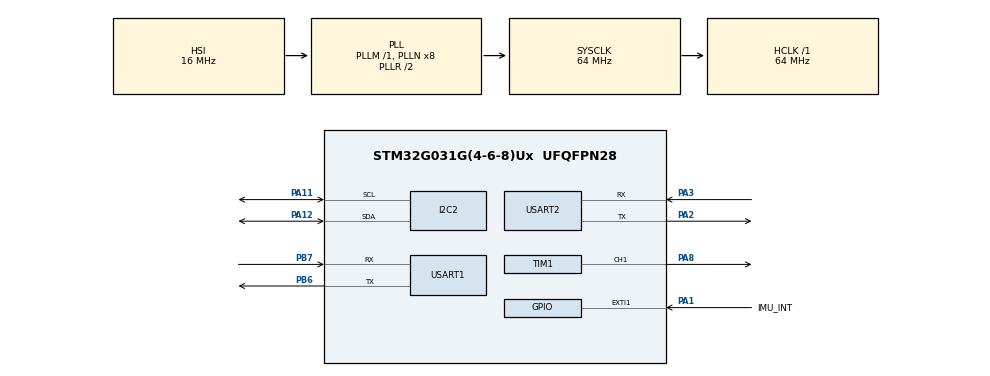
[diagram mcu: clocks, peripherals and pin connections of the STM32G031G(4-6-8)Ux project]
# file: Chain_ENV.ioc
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Dma.Request0=USART1_RX
Dma.Request1=USART1_TX
Dma.Request2=USART2_RX
Dma.Request3=USART2_TX
Dma.Request4=TIM1_CH1
Dma.TIM1_CH1.4.Direction=DMA_MEMORY_TO_PERIPH
Dma.TIM1_CH1.4.EventEnable=DISABLE
Dma.TIM1_CH1.4.Instance=DMA1_Channel5
Dma.TIM1_CH1.4.MemDataAlignment=DMA_MDATAALIGN_BYTE
Dma.TIM1_CH1.4.MemInc=DMA_MINC_ENABLE
Dma.TIM1_CH1.4.Mode=DMA_NORMAL
Dma.TIM1_CH1.4.PeriphDataAlignment=DMA_PDATAALIGN_HALFWORD
Dma.TIM1_CH1.4.PeriphInc=DMA_PINC_DISABLE
Dma.TIM1_CH1.4.Polarity=HAL_DMAMUX_REQ_GEN_RISING
Dma.TIM1_CH1.4.Priority=DMA_PRIORITY_LOW
Dma.TIM1_CH1.4.RequestNumber=1
Dma.TIM1_CH1.4.SignalID=NONE
Dma.TIM1_CH1.4.SyncEnable=DISABLE
Dma.TIM1_CH1.4.SyncPolarity=HAL_DMAMUX_SYNC_NO_EVENT
Dma.TIM1_CH1.4.SyncRequestNumber=1
Dma.TIM1_CH1.4.SyncSignalID=NONE
Dma.USART1_RX.0.Direction=DMA_PERIPH_TO_MEMORY
Dma.USART1_RX.0.EventEnable=DISABLE
Dma.USART1_RX.0.Instance=DMA1_Channel1
Dma.USART1_RX.0.MemDataAlignment=DMA_MDATAALIGN_BYTE
Dma.USART1_RX.0.MemInc=DMA_MINC_ENABLE
Dma.USART1_RX.0.Mode=DMA_NORMAL
Dma.USART1_RX.0.PeriphDataAlignment=DMA_PDATAALIGN_BYTE
Dma.USART1_RX.0.PeriphInc=DMA_PINC_DISABLE
Dma.USART1_RX.0.Polarity=HAL_DMAMUX_REQ_GEN_RISING
Dma.USART1_RX.0.Priority=DMA_PRIORITY_LOW
Dma.USART1_RX.0.RequestNumber=1
Dma.USART1_RX.0.SignalID=NONE
Dma.USART1_RX.0.SyncEnable=DISABLE
Dma.USART1_RX.0.SyncPolarity=HAL_DMAMUX_SYNC_NO_EVENT
Dma.USART1_RX.0.SyncRequestNumber=1
Dma.USART1_RX.0.SyncSignalID=NONE
Dma.USART1_TX.1.Direction=DMA_MEMORY_TO_PERIPH
Dma.USART1_TX.1.EventEnable=DISABLE
Dma.USART1_TX.1.Instance=DMA1_Channel2
Dma.USART1_TX.1.MemDataAlignment=DMA_MDATAALIGN_BYTE
Dma.USART1_TX.1.MemInc=DMA_MINC_ENABLE
Dma.USART1_TX.1.Mode=DMA_NORMAL
Dma.USART1_TX.1.PeriphDataAlignment=DMA_PDATAALIGN_BYTE
Dma.USART1_TX.1.PeriphInc=DMA_PINC_DISABLE
Dma.USART1_TX.1.Polarity=HAL_DMAMUX_REQ_GEN_RISING
Dma.USART1_TX.1.Priority=DMA_PRIORITY_LOW
Dma.USART1_TX.1.RequestNumber=1
Dma.USART1_TX.1.SignalID=NONE
Dma.USART1_TX.1.SyncEnable=DISABLE
Dma.USART1_TX.1.SyncPolarity=HAL_DMAMUX_SYNC_NO_EVENT
Dma.USART1_TX.1.SyncRequestNumber=1
Dma.USART1_TX.1.SyncSignalID=NONE
Dma.USART2_RX.2.Direction=DMA_PERIPH_TO_MEMORY
Dma.USART2_RX.2.EventEnable=DISABLE
Dma.USART2_RX.2.Instance=DMA1_Channel3
Dma.USART2_RX.2.MemDataAlignment=DMA_MDATAALIGN_BYTE
Dma.USART2_RX.2.MemInc=DMA_MINC_ENABLE
Dma.USART2_RX.2.Mode=DMA_NORMAL
Dma.USART2_RX.2.PeriphDataAlignment=DMA_PDATAALIGN_BYTE
Dma.USART2_RX.2.PeriphInc=DMA_PINC_DISABLE
Dma.USART2_RX.2.Polarity=HAL_DMAMUX_REQ_GEN_RISING
Dma.USART2_RX.2.Priority=DMA_PRIORITY_LOW
Dma.USART2_RX.2.RequestNumber=1
Dma.USART2_RX.2.SignalID=NONE
Dma.USART2_RX.2.SyncEnable=DISABLE
Dma.USART2_RX.2.SyncPolarity=HAL_DMAMUX_SYNC_NO_EVENT
Dma.USART2_RX.2.SyncRequestNumber=1
Dma.USART2_RX.2.SyncSignalID=NONE
Dma.USART2_TX.3.Direction=DMA_MEMORY_TO_PERIPH
Dma.USART2_TX.3.EventEnable=DISABLE
Dma.USART2_TX.3.Instance=DMA1_Channel4
Dma.USART2_TX.3.MemDataAlignment=DMA_MDATAALIGN_BYTE
Dma.USART2_TX.3.MemInc=DMA_MINC_ENABLE
Dma.USART2_TX.3.Mode=DMA_NORMAL
Dma.USART2_TX.3.PeriphDataAlignment=DMA_PDATAALIGN_BYTE
Dma.USART2_TX.3.PeriphInc=DMA_PINC_DISABLE
Dma.USART2_TX.3.Polarity=HAL_DMAMUX_REQ_GEN_RISING
Dma.USART2_TX.3.Priority=DMA_PRIORITY_LOW
Dma.USART2_TX.3.RequestNumber=1
Dma.USART2_TX.3.SignalID=NONE
Dma.USART2_TX.3.SyncEnable=DISABLE
Dma.USART2_TX.3.SyncPolarity=HAL_DMAMUX_SYNC_NO_EVENT
Dma.USART2_TX.3.SyncRequestNumber=1
Dma.USART2_TX.3.SyncSignalID=NONE
I2C2.Timing=0x10707DBC
IWDG.Prescaler=IWDG_PRESCALER_16
Mcu.Family=STM32G0
Mcu.Name=STM32G031G(4-6-8)Ux
Mcu.Package=UFQFPN28
NVIC.DMA1_Ch4_5_DMAMUX1_OVR_IRQn=true\:1\:0\:true\:false\:true\:false\:true\:true
NVIC.DMA1_Channel1_IRQn=true\:1\:0\:true\:false\:true\:false\:true\:true
NVIC.DMA1_Channel2_3_IRQn=true\:1\:0\:true\:false\:true\:false\:true\:true
NVIC.EXTI0_1_IRQn=true\:0\:0\:true\:false\:true\:true\:true\:true
NVIC.FLASH_IRQn=true\:1\:0\:true\:false\:true\:true\:true\:true
NVIC.TIM14_IRQn=true\:1\:0\:true\:false\:true\:true\:true\:true
NVIC.TIM16_IRQn=true\:1\:0\:true\:false\:true\:true\:true\:true
NVIC.TIM17_IRQn=true\:1\:0\:true\:false\:true\:true\:true\:true
NVIC.USART1_IRQn=true\:0\:0\:false\:false\:true\:false\:true\:true
NVIC.USART2_IRQn=true\:0\:0\:false\:false\:true\:false\:true\:true
PA1.GPIO_Label=IMU_INT
PA1.GPIO_ModeDefaultEXTI=GPIO_MODE_IT_RISING_FALLING
PA1.Signal=GPXTI1
PA11\ [PA9].Mode=I2C
PA11\ [PA9].Signal=I2C2_SCL
PA12\ [PA10].Mode=I2C
PA12\ [PA10].Signal=I2C2_SDA
PA2.GPIO_PuPd=GPIO_PULLUP
PA2.GPIO_Speed=GPIO_SPEED_FREQ_HIGH
PA2.Mode=Asynchronous
PA2.PinState=GPIO_PIN_RESET
PA2.Signal=USART2_TX
PA3.GPIO_PuPd=GPIO_PULLUP
PA3.GPIO_Speed=GPIO_SPEED_FREQ_HIGH
PA3.Mode=Asynchronous
PA3.PinState=GPIO_PIN_RESET
PA3.Signal=USART2_RX
PA8.Signal=S_TIM1_CH1
PB6.GPIO_PuPd=GPIO_PULLUP
PB6.GPIO_Speed=GPIO_SPEED_FREQ_HIGH
PB6.Mode=Asynchronous
PB6.Signal=USART1_TX
PB7.GPIO_PuPd=GPIO_PULLUP
PB7.GPIO_Speed=GPIO_SPEED_FREQ_HIGH
PB7.Mode=Asynchronous
PB7.Signal=USART1_RX
ProjectManager.HeapSize=0x200
ProjectManager.StackSize=0x400
ProjectManager.TargetToolchain=STM32CubeIDE
RCC.ADCFreq_Value=64000000
RCC.AHBFreq_Value=64000000
RCC.CortexFreq_Value=64000000
RCC.EXTERNAL_CLOCK_VALUE=12288000
RCC.HCLKFreq_Value=64000000
RCC.HSE_VALUE=8000000
RCC.HSI_VALUE=16000000
RCC.LSE_VALUE=32768
RCC.PLLQ=RCC_PLLQ_DIV4
RCC.SYSCLKFreq_VALUE=64000000
RCC.SYSCLKSource=RCC_SYSCLKSOURCE_PLLCLK
RCC.VCOOutputFreq_Value=128000000
SH.S_TIM1_CH1.0=TIM1_CH1,PWM Generation1 CH1
TIM1.Channel-PWM\ Generation1\ CH1=TIM_CHANNEL_1
TIM1.Period=79
TIM14.AutoReloadPreload=TIM_AUTORELOAD_PRELOAD_ENABLE
TIM14.Period=1699
TIM14.Prescaler=6399
TIM16.Period=29999
TIM16.Prescaler=6399
TIM17.Period=9999
TIM17.Prescaler=6399
USART1.VirtualMode-Asynchronous=VM_ASYNC
USART2.VirtualMode-Asynchronous=VM_ASYNC
VP_IWDG_VS_IWDG.Mode=IWDG_Activate
VP_TIM14_VS_ClockSourceINT.Mode=Enable_Timer
VP_TIM16_VS_ClockSourceINT.Mode=Enable_Timer
VP_TIM17_VS_ClockSourceINT.Mode=Enable_Timer
VP_TIM1_VS_ClockSourceINT.Mode=Internal
board=custom

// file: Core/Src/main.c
/* USER CODE BEGIN Header */
/**
 ******************************************************************************
 * @file           : main.c
 * @brief          : Main program body
 ******************************************************************************
 * @attention
 *
 * Copyright (c) 2024 STMicroelectronics.
 * All rights reserved.
 *
 * This software is licensed under terms that can be found in the LICENSE file
 * in the root directory of this software component.
 * If no LICENSE file comes with this software, it is provided AS-IS.
 *
 ******************************************************************************
 */
/* USER CODE END Header */
#include "main.h"
#include "dma.h"
#include "i2c.h"
#include "iwdg.h"
#include "tim.h"
#include "usart.h"
#include "gpio.h"

/* USER CODE BEGIN Includes */
#include "base_function.h"
#include "env_function.h"
#include "RGB.h"
#include "myflash.h"
#include "driver_aht20_basic.h"
#include "driver_aht20_interface.h"
#include "spa06_sensor.h"

/* USER CODE END Includes */

/* USER CODE BEGIN PV */
// DMA receive buffers
__IO uint8_t g_uart_in_rx_buf[UART_BUFFER_SIZE][BUFFER_SIZE * 2];  // uart_in receive buffer for DMA
__IO uint8_t g_uart_out_rx_buf[UART_BUFFER_SIZE][BUFFER_SIZE * 2]; // uart_out receive buffer for DMA

// Transmission status for UART
__IO uint8_t g_uart_in_rx_index = 0;  // Index for UART input (receiving) buffer position
__IO uint8_t g_uart_out_rx_index = 0; // Index for UART output (receiving) buffer position

// Transmission complete flags for UART
__IO uint8_t g_uart_in_transmit_complete = 1;  // Flag indicating if uart_in transmission is complete (1: complete)
__IO uint8_t g_uart_out_transmit_complete = 1; // Flag indicating if uart_out transmission is complete (1: complete)

// Command buffer and related variables
__IO uint8_t g_cmd_buf[BUFFER_SIZE] = {0};         // Command buffer initialized to zero
__IO uint8_t g_cmd_size = 0;                       // Size of the command currently in the buffer
__IO uint8_t g_cmd_status = CMD_SPACE_IDLE_STATUS; // Status of the command processing

// Device status variables
__IO uint8_t g_tail_status = CHAIN_TAIL_DEVICE;     // Status of the tail device in the chain
__IO uint8_t g_heart_beat_record = 0;               // Heartbeat record for monitoring device status
__IO uint8_t g_bootloader_version = 0;              // Version of the bootloader
__IO uint8_t g_firmware_version = SOFTWARE_VERSION; // Version of the firmware

// Device type information
__IO uint16_t g_device_type =
    (uint8_t)((PRODUCT_TYPE_HIGH << 8) | PRODUCT_TYPE_LOW); // Combined product type from high and low bytes
__IO uint8_t g_light = 0;                                   // Light status or value

__IO static uint32_t s_last_press_time = 0; // Store the last press time in milliseconds
static uint32_t s_last_data_update_time = 0;

__IO static uint8_t s_key_flag = 0;

__IO uint8_t g_uid[12] = {0}; // Unique identifier

__IO uint8_t res;
__IO uint8_t i;
__IO float temperature;
__IO uint8_t humidity;

/* USER CODE END PV */

void SystemClock_Config(void);

/* USER CODE BEGIN 0 */
/**
 * @brief Set the Interrupt Vector Table for the application in SRAM.
 * @param None
 * @retval None
 */
void iap_set(void)
{
    uint8_t i;                                    // Loop index
    uint32_t *pVecTab = (uint32_t *)(0x20000000); // Pointer to the vector table in SRAM

    // Copy the interrupt vector table from the application address to SRAM
    for (i = 0; i < 48; i++)
    {
        // Copy each vector entry to the SRAM vector table
        *(pVecTab++) = *(__IO uint32_t *)(APPLICATION_ADDRESS + (i << 2));
    }

    // Enable the SYSCFG peripheral clock
    __HAL_RCC_SYSCFG_CLK_ENABLE();

    // Remap the memory to use SRAM for the vector table
    __HAL_SYSCFG_REMAPMEMORY_SRAM();
}

/**
 * @brief Initialize the chain device settings.
 * @param None
 * @retval None
 */
void chain_init(void)
{
    // Get the version of the bootloader
    g_bootloader_version = get_bootloader_version();

    // Check if the RGB light setting is set to maximum (0xFF)
    if (get_rgb_light() == 0xFF)
    {
        // Set the light to a base color if it is maximum
        g_light = RGB_LIGHT_BASE;
        set_rgb_light(g_light);
    }
    else
    {
        // Otherwise, get the current RGB light setting
        g_light = get_rgb_light();
    }
}

void read_uid(void)
{
    uint32_t uid0 = HAL_GetUIDw0();
    uint32_t uid1 = HAL_GetUIDw1();
    uint32_t uid2 = HAL_GetUIDw2();

    memcpy(&g_uid[0], &uid0, 4);
    memcpy(&g_uid[4], &uid1, 4);
    memcpy(&g_uid[8], &uid2, 4);
}

/* USER CODE END 0 */

int main(void)
{

    /* USER CODE BEGIN 1 */
    iap_set();
    chain_init();
    read_uid();
    /* USER CODE END 1 */

    /* MCU Configuration--------------------------------------------------------*/

    /* Reset of all peripherals, Initializes the Flash interface and the Systick. */
    HAL_Init();

    /* Configure the system clock */
    SystemClock_Config();

    /* Initialize all configured peripherals */
    MX_GPIO_Init();
    MX_DMA_Init();
    MX_USART1_UART_Init();
    MX_USART2_UART_Init();
    MX_IWDG_Init();
    MX_TIM14_Init();
    MX_TIM1_Init();
    MX_TIM16_Init();
    MX_TIM17_Init();
    MX_I2C2_Init();
    /* USER CODE BEGIN 2 */
    rgb_init();
    if (aht20_basic_init() != 0)
    {
        while (1)
        {
            HAL_Delay(1000);
        }
    }
    if (spa06_sensor_init() != 0)
    {
        while (1)
        {
            HAL_Delay(1000);
        }
    }
    chain_env_restore_spa06_sea_level_pressure();

    HAL_Delay(1);
    LL_TIM_ClearFlag_UPDATE(TIM14); // Clear update TIM14
    LL_TIM_EnableIT_UPDATE(TIM14);  // ENABLE TIM14
    LL_TIM_EnableCounter(TIM14);    // ENABLE TIM14
    HAL_Delay(1);
    LL_TIM_ClearFlag_UPDATE(TIM17); // Clear update TIM17
    LL_TIM_EnableIT_UPDATE(TIM17);  // ENABLE TIM17
    LL_TIM_EnableCounter(TIM17);    // ENABLE TIM17
    HAL_Delay(1);
    LL_TIM_ClearFlag_UPDATE(TIM16); // Clear update TIM16
    LL_TIM_EnableIT_UPDATE(TIM16);  // ENABLE TIM16
    LL_TIM_EnableCounter(TIM16);    // ENABLE TIM16
    HAL_Delay(1);

    /* USER CODE END 2 */
    while (1)
    {
        if (g_cmd_status == CMD_SPACE_BUSY_STATUS)
        {
            switch (g_cmd_buf[0])
            {
            case CHAIN_SET_RGB_VALUE:
                chain_set_rgb_value((uint8_t *)(g_cmd_buf + 1), (g_cmd_size - 1));
                break;
            case CHAIN_GET_RGB_VALUE:
                chain_get_rgb_value((uint8_t *)(g_cmd_buf + 1), (g_cmd_size - 1));
                break;
            case CHAIN_SET_RGB_LIGHT:
                chain_set_light_value(g_cmd_buf[1], g_cmd_buf[2]);
                break;
            case CHAIN_GET_RGB_LIGHT:
                chain_get_light_value();
                break;
            case CHAIN_ENV_I2C_MEM_READ:
                if (g_cmd_size == 6U)
                {
                    uint16_t reg_addr = (uint16_t)(((uint16_t)g_cmd_buf[4] << 8) | (uint16_t)g_cmd_buf[3]);
                    chain_env_i2c_mem_read(g_cmd_buf[1], reg_addr, g_cmd_buf[2], g_cmd_buf[5]);
                }
                else
                {
                    chain_env_i2c_mem_read(0x80U, 0U, 0U, 0U);
                }
                break;
            case CHAIN_ENV_I2C_MEM_WRITE:
                if (g_cmd_size >= 6U && g_cmd_size == (uint8_t)(6U + g_cmd_buf[5]))
                {
                    uint16_t reg_addr = (uint16_t)(((uint16_t)g_cmd_buf[4] << 8) | (uint16_t)g_cmd_buf[3]);
                    chain_env_i2c_mem_write(g_cmd_buf[1], reg_addr, g_cmd_buf[2], g_cmd_buf[5], (uint8_t *)(g_cmd_buf + 6));
                }
                else
                {
                    chain_env_i2c_mem_write(0x80U, 0U, 0U, 0U, NULL);
                }
                break;
            case CHAIN_ENV_GET_AHT20_DATA:
                chain_env_get_aht20_data_handle();
                break;
            case CHAIN_ENV_GET_SPA06_DATA:
                chain_env_get_spa06_data_handle();
                break;
            case CHAIN_ENV_SET_SPA06_TEMPERATURE_RATE:
                chain_env_set_spa06_temperature_rate_handle((uint8_t *)(g_cmd_buf + 1), (g_cmd_size - 1));
                break;
            case CHAIN_ENV_GET_SPA06_TEMPERATURE_RATE:
                chain_env_get_spa06_temperature_rate_handle();
                break;
            case CHAIN_ENV_SET_SPA06_PRESSURE_RATE:
                chain_env_set_spa06_pressure_rate_handle((uint8_t *)(g_cmd_buf + 1), (g_cmd_size - 1));
                break;
            case CHAIN_ENV_GET_SPA06_PRESSURE_RATE:
                chain_env_get_spa06_pressure_rate_handle();
                break;
            case CHAIN_ENV_SET_SPA06_SEA_LEVEL_PRESSURE:
                chain_env_set_spa06_sea_level_pressure_handle((uint8_t *)(g_cmd_buf + 1), (g_cmd_size - 1));
                break;
            case CHAIN_ENV_GET_SPA06_SEA_LEVEL_PRESSURE:
                chain_env_get_spa06_sea_level_pressure_handle();
                break;
            case CHAIN_ENV_CALIBRATE_SPA06_SEA_LEVEL_PRESSURE:
                chain_env_calibrate_spa06_sea_level_pressure_handle((uint8_t *)(g_cmd_buf + 1), (g_cmd_size - 1));
                break;
            case CHAIN_ENV_SET_ALARM_MODE:
                chain_env_set_alarm_mode_handle((uint8_t *)(g_cmd_buf + 1), (g_cmd_size - 1));
                break;
            case CHAIN_ENV_GET_ALARM_MODE:
                chain_env_get_alarm_mode_handle();
                break;
            case CHAIN_ENV_SET_ALARM_TEMP_THRESHOLD:
                chain_env_set_alarm_temperature_threshold_handle((uint8_t *)(g_cmd_buf + 1), (g_cmd_size - 1));
                break;
            case CHAIN_ENV_GET_ALARM_TEMP_THRESHOLD:
                chain_env_get_alarm_temperature_threshold_handle();
                break;
            case CHAIN_ENV_SET_ALARM_HUMIDITY_THRESHOLD:
                chain_env_set_alarm_humidity_threshold_handle((uint8_t *)(g_cmd_buf + 1), (g_cmd_size - 1));
                break;
            case CHAIN_ENV_GET_ALARM_HUMIDITY_THRESHOLD:
                chain_env_get_alarm_humidity_threshold_handle();
                break;
            case CHAIN_ENV_SET_ALARM_PRESSURE_THRESHOLD:
                chain_env_set_alarm_pressure_threshold_handle((uint8_t *)(g_cmd_buf + 1), (g_cmd_size - 1));
                break;
            case CHAIN_ENV_GET_ALARM_PRESSURE_THRESHOLD:
                chain_env_get_alarm_pressure_threshold_handle();
                break;
            case CHAIN_ENV_SET_ALARM_ALTITUDE_THRESHOLD:
                chain_env_set_alarm_altitude_threshold_handle((uint8_t *)(g_cmd_buf + 1), (g_cmd_size - 1));
                break;
            case CHAIN_ENV_GET_ALARM_ALTITUDE_THRESHOLD:
                chain_env_get_alarm_altitude_threshold_handle();
                break;
            case CHAIN_GET_UID:
                chain_get_uid_handle(g_cmd_buf[1]);
                break;
            case CHAIN_GET_BOOTLOADER_VERSION:
                chain_get_bootloader_version_handle();
                break;
            case CHAIN_GET_VERSION_DEVICE:
                chain_get_firmware_version_handle();
                break;
            case CHAIN_GET_DEVICE_TYPE:
                chain_get_device_type_handle();
                break;
            case CHAIN_IAP_UPDATE:
                chain_iap_update_handle(g_cmd_buf[1]);
                break;
            default:
                break;
            }
            g_cmd_status = CMD_SPACE_IDLE_STATUS;
        }
        /* USER CODE END WHILE */

        /* USER CODE BEGIN 3 */
        uint32_t current_time = HAL_GetTick();
        if ((uint32_t)(current_time - s_last_data_update_time) >= 2000U)
        {
            s_last_data_update_time = current_time;
            env_data_update();
            spa06_data_update();
            chain_env_alarm_update();
        }
        rgb_update();
        LL_IWDG_ReloadCounter(IWDG);
    }
    /* USER CODE END 3 */
}

void SystemClock_Config(void)
{
    RCC_OscInitTypeDef RCC_OscInitStruct = {0};
    RCC_ClkInitTypeDef RCC_ClkInitStruct = {0};

    /** Configure the main internal regulator output voltage
     */
    HAL_PWREx_ControlVoltageScaling(PWR_REGULATOR_VOLTAGE_SCALE1);

    /** Initializes the RCC Oscillators according to the specified parameters
     * in the RCC_OscInitTypeDef structure.
     */
    RCC_OscInitStruct.OscillatorType = RCC_OSCILLATORTYPE_HSI | RCC_OSCILLATORTYPE_LSI;
    RCC_OscInitStruct.HSIState = RCC_HSI_ON;
    RCC_OscInitStruct.HSIDiv = RCC_HSI_DIV1;
    RCC_OscInitStruct.HSICalibrationValue = RCC_HSICALIBRATION_DEFAULT;
    RCC_OscInitStruct.LSIState = RCC_LSI_ON;
    RCC_OscInitStruct.PLL.PLLState = RCC_PLL_ON;
    RCC_OscInitStruct.PLL.PLLSource = RCC_PLLSOURCE_HSI;
    RCC_OscInitStruct.PLL.PLLM = RCC_PLLM_DIV1;
    RCC_OscInitStruct.PLL.PLLN = 8;
    RCC_OscInitStruct.PLL.PLLP = RCC_PLLP_DIV2;
    RCC_OscInitStruct.PLL.PLLQ = RCC_PLLQ_DIV4;
    RCC_OscInitStruct.PLL.PLLR = RCC_PLLR_DIV2;
    if (HAL_RCC_OscConfig(&RCC_OscInitStruct) != HAL_OK)
    {
        Error_Handler();
    }

    /** Initializes the CPU, AHB and APB buses clocks
     */
    RCC_ClkInitStruct.ClockType = RCC_CLOCKTYPE_HCLK | RCC_CLOCKTYPE_SYSCLK | RCC_CLOCKTYPE_PCLK1;
    RCC_ClkInitStruct.SYSCLKSource = RCC_SYSCLKSOURCE_PLLCLK;
    RCC_ClkInitStruct.AHBCLKDivider = RCC_SYSCLK_DIV1;
    RCC_ClkInitStruct.APB1CLKDivider = RCC_HCLK_DIV1;

    if (HAL_RCC_ClockConfig(&RCC_ClkInitStruct, FLASH_LATENCY_2) != HAL_OK)
    {
        Error_Handler();
    }
}

void Error_Handler(void)
{
    __disable_irq();
    while (1)
    {
    }
}

#ifdef USE_FULL_ASSERT
/**
 * @brief  Reports the name of the source file and the source line number
 *         where the assert_param error has occurred.
 * @param  file: pointer to the source file name
 * @param  line: assert_param error line source number
 * @retval None
 */
void assert_failed(uint8_t *file, uint32_t line)
{
    /* USER CODE BEGIN 6 */
    /* User can add his own implementation to report the file name and line
       number,
       ex: printf("Wrong parameters value: file %s on line %d\r\n", file, line) */
    /* USER CODE END 6 */
}
#endif /* USE_FULL_ASSERT */
